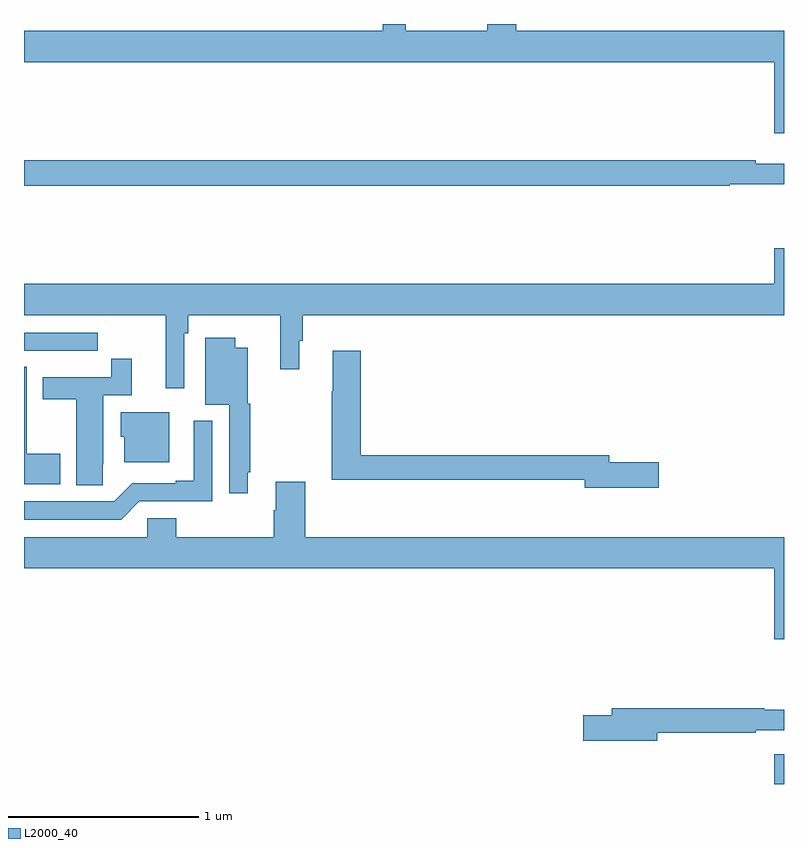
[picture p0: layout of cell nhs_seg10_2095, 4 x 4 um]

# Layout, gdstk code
import gdstk
lib = gdstk.Library(unit=1e-6, precision=1e-09)
def R(c, l, rs):  # rectangles x0, y0, x1, y1
    for r in rs: c.add(gdstk.rectangle(r[:2], r[2:], *l))
def P(c, l, *ps):  # polygons
    for p in ps: c.add(gdstk.Polygon(p, *l))
L2000_40 = (2000, 40)

nhs_seg10_2095 = lib.new_cell('nhs_seg10_2095')
R(nhs_seg10_2095, L2000_40, [(224.948,1312.5,225,1312.657)])
P(nhs_seg10_2095, L2000_40, [(225,1316.464),(223.592,1316.464),(223.592,1316.5),(223.439,1316.5),(223.439,1316.464),(223.009,1316.464),(223.009,1316.5),(222.887,1316.5),(222.887,1316.464),(221,1316.464),(221,1316.3),(224.948,1316.3),(224.948,1315.926),(225,1315.926)],
  [(224.714,1315.656),(225,1315.656),(225,1315.765),(224.852,1315.765),(224.852,1315.784),(221,1315.784),(221,1315.648),(224.714,1315.648)],
  [(221.844,1314.872),(221.864,1314.872),(221.864,1314.968),(222.349,1314.968),(222.349,1314.684),(222.448,1314.684),(222.448,1314.834),(222.467,1314.834),(222.467,1314.968),(225,1314.968),(225,1315.321),(224.948,1315.321),(224.948,1315.132),(221,1315.132),(221,1314.968),(221.747,1314.968),(221.747,1314.582),(221.844,1314.582)],
  [(221.276,1314.78),(221.389,1314.78),(221.389,1314.876),(221,1314.876),(221,1314.78),(221.11,1314.78),(221.11,1314.779),(221.276,1314.779)],
  [(222.178,1314.142),(222.19,1314.142),(222.19,1314.501),(222.178,1314.501),(222.178,1314.796),(222.112,1314.796),(222.112,1314.85),(221.954,1314.85),(221.954,1314.497),(222.081,1314.497),(222.081,1314.03),(222.178,1314.03)],
  [(224.341,1314.194),(224.08,1314.194),(224.08,1314.23),(222.773,1314.23),(222.773,1314.781),(222.626,1314.781),(222.626,1314.568),(222.619,1314.568),(222.619,1314.102),(223.952,1314.102),(223.952,1314.059),(224.341,1314.059)],
  [(221.415,1314.184),(221.416,1314.184),(221.416,1314.546),(221.567,1314.546),(221.567,1314.739),(221.458,1314.739),(221.458,1314.642),(221.099,1314.642),(221.099,1314.526),(221.276,1314.526),(221.276,1314.073),(221.415,1314.073)],
  [(221.191,1314.237),(221.014,1314.237),(221.014,1314.695),(221,1314.695),(221,1314.077),(221.191,1314.077)],
  [(221.764,1314.457),(221.51,1314.457),(221.51,1314.327),(221.528,1314.327),(221.528,1314.194),(221.764,1314.194)],
  [(221.607,1313.988),(221.991,1313.988),(221.991,1314.412),(221.894,1314.412),(221.894,1314.097),(221.798,1314.097),(221.798,1314.084),(221.571,1314.084),(221.475,1313.988),(221,1313.988),(221,1313.892),(221.511,1313.892)],
  [(225,1313.8),(222.479,1313.8),(222.479,1314.091),(222.326,1314.091),(222.326,1313.942),(222.314,1313.942),(222.314,1313.8),(221.801,1313.8),(221.801,1313.898),(221.649,1313.898),(221.649,1313.8),(221,1313.8),(221,1313.636),(224.948,1313.636),(224.948,1313.262),(225,1313.262)],
  [(224.332,1312.77),(224.852,1312.77),(224.852,1312.782),(225,1312.782),(225,1312.891),(224.897,1312.891),(224.897,1312.898),(224.093,1312.898),(224.093,1312.862),(223.944,1312.862),(223.944,1312.727),(224.332,1312.727)])

lib.write_gds('nhs_seg10_2095.gds')
